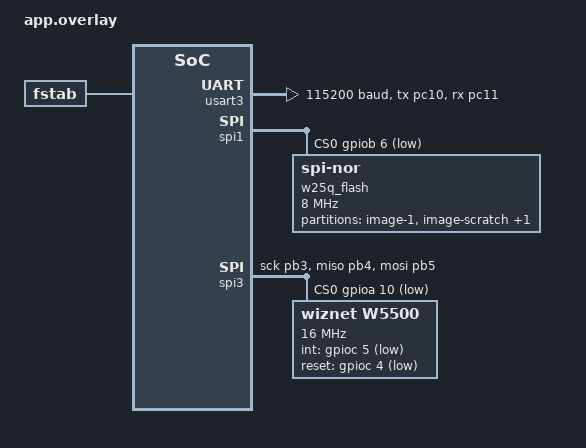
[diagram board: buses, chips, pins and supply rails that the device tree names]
/ {
    chosen {
        zephyr,console = &usart3;
        zephyr,shell-uart = &usart3;
        zephyr,code-partition = &slot0_partition;
    };

    leds {
        led0: led_0 {
            status = "disabled";
        };
    };

    fstab {
        compatible = "zephyr,fstab";
        lfs1: lfs1 {
            compatible = "zephyr,fstab,littlefs";
            mount-point = "/lfs";
            partition = <&lfs_partition>;
            automount;
            read-size = <16>;
            prog-size = <16>;
            cache-size = <64>;
            lookahead-size = <32>;
            block-cycles = <512>;
        };
    };
};

/* Внутренняя флеш-память STM32G474 (512 КБ) */
&flash0 {
    /delete-node/ partitions;

    partitions {
        compatible = "fixed-partitions";
        #address-cells = <1>;
        #size-cells = <1>;

        boot_partition: partition@0 {
            label = "mcuboot";
            reg = <0x00000000 0x00010000>;
        };

        slot0_partition: partition@10000 {
            label = "image-0";
            reg = <0x00010000 0x0006E000>;
        };

        storage_partition: partition@7E000 {
            label = "storage";
            reg = <0x0007E000 0x00002000>;
        };
    };
};

&usart3 {
    pinctrl-0 = <&usart3_tx_pc10 &usart3_rx_pc11>;
    pinctrl-names = "default";
    current-speed = <115200>;
    status = "okay";
};

&uart4 {
    status = "disabled";
};

&spi1 {
    status = "okay";
    cs-gpios = <&gpiob 6 GPIO_ACTIVE_LOW>;

    w25q_flash: w25q@0 {
        compatible = "jedec,spi-nor";
        reg = <0>;
        spi-max-frequency = <8000000>;
        size = <33554432>;
        has-dpd;
        t-enter-dpd = <3000>;
        t-exit-dpd = <30000>;
        jedec-id = [ef 40 16];

        partitions {
            compatible = "fixed-partitions";
            #address-cells = <1>;
            #size-cells = <1>;

            /* Резервный слот MCUboot (440 КБ — равен slot0) */
            slot1_partition: partition@0 {
                label = "image-1";
                reg = <0x00000000 0x0006E000>;
            };

            /* Раздел временного обмена для MCUboot: 64 КБ */
            scratch_partition: partition@6E000 {
                label = "image-scratch";
                reg = <0x0006E000 0x00010000>;
            };

            /* Остаток внешней флеш (3592 КБ) под LittleFS */
            lfs_partition: partition@7E000 {
                label = "ext_storage";
                reg = <0x0007E000 0x00382000>;
            };
        };
    };
};

&spi3 {
    status = "okay";
    pinctrl-0 = <&spi3_sck_pb3 &spi3_miso_pb4 &spi3_mosi_pb5>;
    pinctrl-names = "default";
    cs-gpios = <&gpioa 10 GPIO_ACTIVE_LOW>;

    w5500: w5500@0 {
        compatible = "wiznet,w5500";
        reg = <0>;
        spi-max-frequency = <16000000>;
        int-gpios = <&gpioc 5 GPIO_ACTIVE_LOW>;
        reset-gpios = <&gpioc 4 GPIO_ACTIVE_LOW>;
        local-mac-address = [00 08 dc 47 40 01];
    };
};
